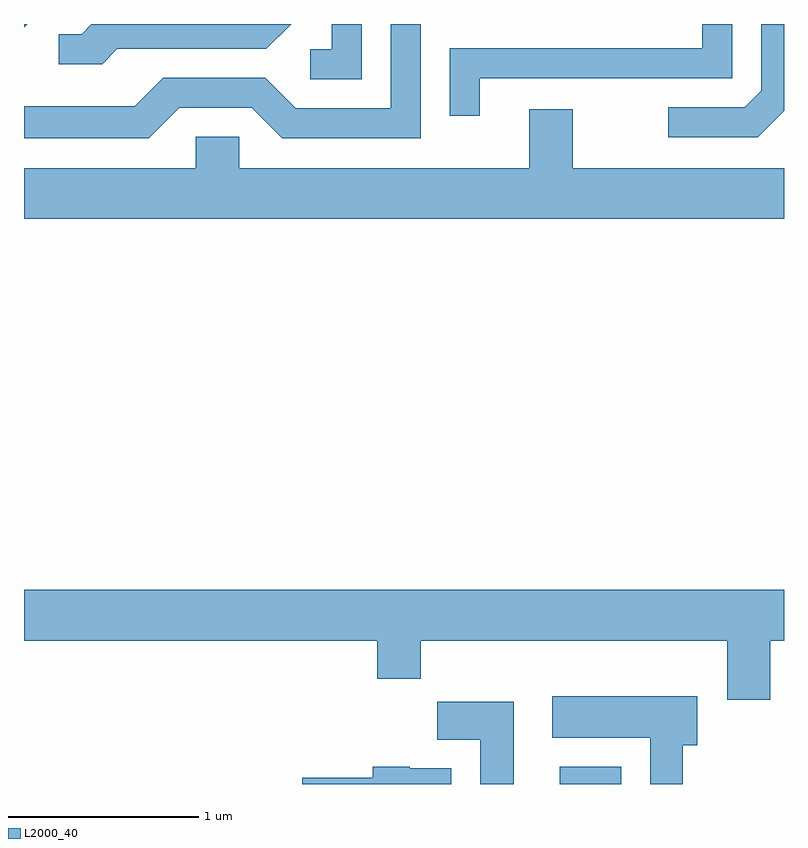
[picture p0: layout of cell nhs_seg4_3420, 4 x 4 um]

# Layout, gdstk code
import gdstk
lib = gdstk.Library(unit=1e-6, precision=1e-09)
def R(c, l, rs):  # rectangles x0, y0, x1, y1
    for r in rs: c.add(gdstk.rectangle(r[:2], r[2:], *l))
def P(c, l, *ps):  # polygons
    for p in ps: c.add(gdstk.Polygon(p, *l))
L2000_40 = (2000, 40)

nhs_seg4_3420 = lib.new_cell('nhs_seg4_3420')
R(nhs_seg4_3420, L2000_40, [(288.431,1293.982,288.754,1294.074)])
P(nhs_seg4_3420, L2000_40, [(287.389,1297.982),(287.231,1297.982),(287.231,1297.849),(287.118,1297.849),(287.118,1297.691),(287.389,1297.691)],
  [(288.009,1297.696),(289.339,1297.696),(289.339,1297.982),(289.181,1297.982),(289.181,1297.854),(287.851,1297.854),(287.851,1297.498),(288.009,1297.498)],
  [(289.611,1297.526),(289.611,1297.982),(289.491,1297.982),(289.491,1297.632),(289.404,1297.544),(289.003,1297.544),(289.003,1297.386),(289.472,1297.386)],
  [(286.102,1297.851),(286.887,1297.851),(287.017,1297.982),(285.966,1297.982),(285.914,1297.929),(285.793,1297.929),(285.793,1297.771),(286.022,1297.771)],
  [(285.627,1297.982),(285.611,1297.982),(285.611,1297.966)],
  [(286.427,1297.541),(286.809,1297.541),(286.969,1297.381),(287.699,1297.381),(287.699,1297.982),(287.541,1297.982),(287.541,1297.539),(287.042,1297.539),(286.882,1297.699),(286.344,1297.699),(286.194,1297.549),(285.611,1297.549),(285.611,1297.381),(286.267,1297.381)],
  [(289.611,1297.224),(288.499,1297.224),(288.499,1297.534),(288.271,1297.534),(288.271,1297.224),(286.744,1297.224),(286.744,1297.389),(286.516,1297.389),(286.516,1297.224),(285.611,1297.224),(285.611,1296.956),(289.611,1296.956)],
  [(289.539,1294.736),(289.611,1294.736),(289.611,1295.004),(285.611,1295.004),(285.611,1294.736),(287.471,1294.736),(287.471,1294.536),(287.699,1294.536),(287.699,1294.736),(289.311,1294.736),(289.311,1294.426),(289.539,1294.426)],
  [(289.079,1294.186),(289.154,1294.186),(289.154,1294.444),(288.391,1294.444),(288.391,1294.226),(288.906,1294.226),(288.906,1293.982),(289.079,1293.982)],
  [(288.189,1294.414),(287.786,1294.414),(287.786,1294.216),(288.011,1294.216),(288.011,1293.982),(288.189,1293.982)],
  [(287.859,1294.064),(287.64,1294.064),(287.64,1294.074),(287.446,1294.074),(287.446,1294.014),(287.076,1294.014),(287.076,1293.982),(287.859,1293.982)])

lib.write_gds('nhs_seg4_3420.gds')
